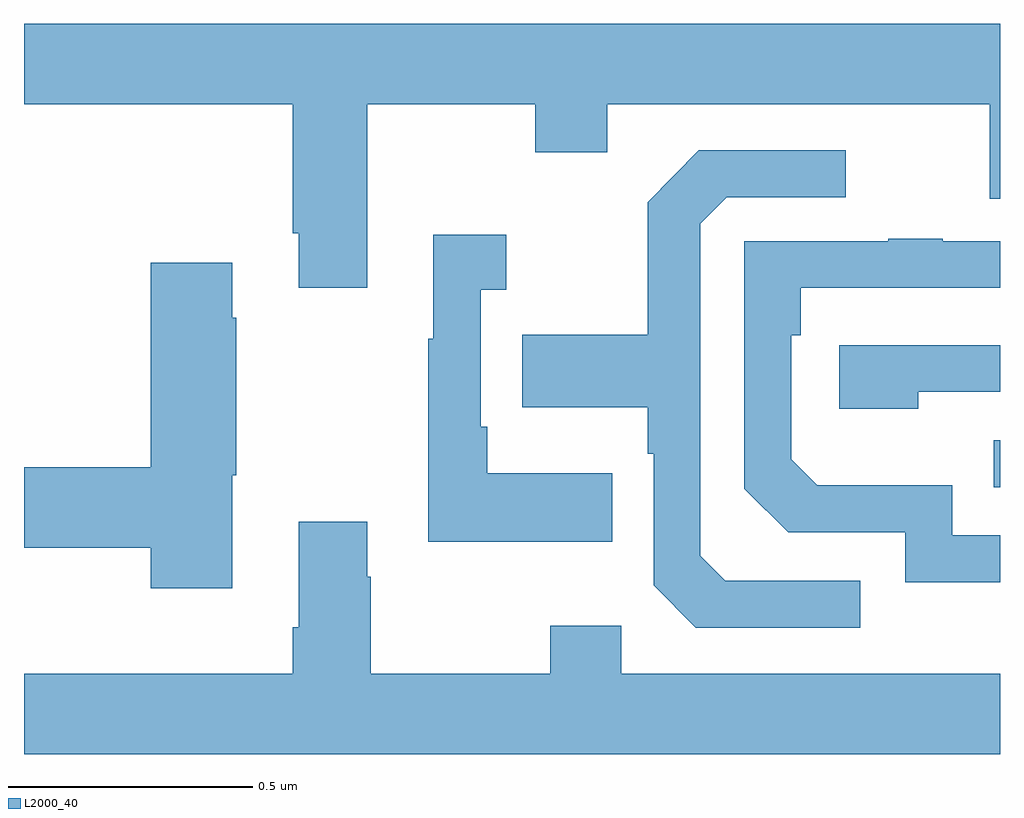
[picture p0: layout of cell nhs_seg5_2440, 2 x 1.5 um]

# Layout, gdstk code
import gdstk
lib = gdstk.Library(unit=1e-6, precision=1e-09)
def R(c, l, rs):  # rectangles x0, y0, x1, y1
    for r in rs: c.add(gdstk.rectangle(r[:2], r[2:], *l))
def P(c, l, *ps):  # polygons
    for p in ps: c.add(gdstk.Polygon(p, *l))
L2000_40 = (2000, 40)

nhs_seg5_2440 = lib.new_cell('nhs_seg5_2440')
R(nhs_seg5_2440, L2000_40, [(145.987,862.635,146,862.731)])
P(nhs_seg5_2440, L2000_40, [(144.703,863.42),(145.048,863.42),(145.048,863.321),(145.195,863.321),(145.195,863.42),(145.979,863.42),(145.979,863.226),(146,863.226),(146,863.584),(144,863.584),(144,863.42),(144.551,863.42),(144.551,863.155),(144.563,863.155),(144.563,863.043),(144.703,863.043)],
  [(145.714,862.443),(145.437,862.443),(145.386,862.494),(145.386,863.175),(145.44,863.229),(145.684,863.229),(145.684,863.325),(145.383,863.325),(145.278,863.219),(145.278,862.947),(145.021,862.947),(145.021,862.799),(145.278,862.799),(145.278,862.703),(145.29,862.703),(145.29,862.434),(145.377,862.347),(145.714,862.347)],
  [(145.205,862.663),(144.949,862.663),(144.949,862.759),(144.936,862.759),(144.936,863.039),(144.988,863.039),(144.988,863.152),(144.839,863.152),(144.839,862.939),(144.828,862.939),(144.828,862.523),(145.205,862.523)],
  [(146,862.536),(145.902,862.536),(145.902,862.639),(145.625,862.639),(145.572,862.692),(145.572,862.946),(145.592,862.946),(145.592,863.043),(146,863.043),(146,863.139),(145.883,863.139),(145.883,863.144),(145.771,863.144),(145.771,863.139),(145.476,863.139),(145.476,862.632),(145.566,862.542),(145.806,862.542),(145.806,862.44),(146,862.44)],
  [(144.427,862.659),(144.435,862.659),(144.435,862.982),(144.427,862.982),(144.427,863.095),(144.26,863.095),(144.26,862.676),(144,862.676),(144,862.511),(144.26,862.511),(144.26,862.428),(144.427,862.428)],
  [(145.832,862.83),(146,862.83),(146,862.926),(145.671,862.926),(145.671,862.796),(145.832,862.796)],
  [(146,862.252),(145.224,862.252),(145.224,862.351),(145.078,862.351),(145.078,862.252),(144.711,862.252),(144.711,862.451),(144.703,862.451),(144.703,862.564),(144.563,862.564),(144.563,862.348),(144.551,862.348),(144.551,862.252),(144,862.252),(144,862.088),(146,862.088)])

lib.write_gds('nhs_seg5_2440.gds')
